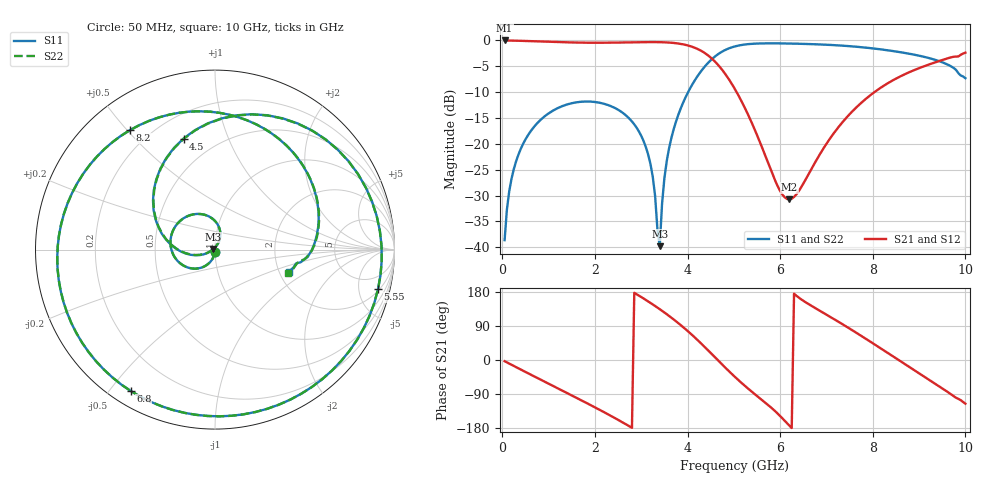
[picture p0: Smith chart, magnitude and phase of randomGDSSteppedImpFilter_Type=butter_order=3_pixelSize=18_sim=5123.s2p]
! freq	dB(S11)	phase(S11)	dB(S12)	phase(S12)
!  dB(S21)	phase(S21)	dB(S22)	phase(S22)
!S-par simulation data
#  GHz  S  DB  R 50
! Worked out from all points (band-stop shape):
!   200 points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, 50 MHz to 10 GHz, reference 50 ohm
!   highest |S21| = 0.00 dB at 50 MHz (marker M1); lowest = -30.7 dB at 6.2 GHz (marker M2)
!   |S21| within 3 dB of the highest: start of sweep to 4.458 GHz; 9.863 GHz to end of sweep
!   lowest |S11| = -39.8 dB at 3.4 GHz (marker M3), VSWR 1.02, Z = 49 + j0.284 ohm
!   |S11| at or under -10 dB: start of sweep to 4.013 GHz
!   |S22| runs from -39.1 to -0.6 dB; largest |S21 - S12| = 0
!   S11 on the Smith chart (normalised r, x): 50 MHz: 1.00, -0.02; 4.5 GHz: 0.33, +0.70; 5.55 GHz: 2.26, -7.80; 6.8 GHz: 0.06, -0.57; 8.2 GHz: 0.13, +0.51; 10 GHz: 2.27, -0.68
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0.05  -38.62 -93.2  -0.00 -3.2  -0.00 -3.2  -38.61 -93.2
0.2  -26.72 -103.1  -0.03 -12.7  -0.03 -12.7  -26.72 -103.2
0.5  -19.14 -122.2  -0.10 -31.5  -0.10 -31.5  -19.15 -122.2
1.15  -13.30 -162.4  -0.30 -71.8  -0.30 -71.8  -13.30 -162.4
1.75  -11.83 160.4  -0.43 -109.1  -0.43 -109.1  -11.83 160.4
3  -18.44 77.8  -0.33 166.2  -0.33 166.2  -18.44 78.1
3.25  -26.41 63.5  -0.31 146.6  -0.31 146.6  -26.38 64.6
3.4  -39.78 163.6  -0.33 134.1  -0.33 134.1  -39.05 160.9
3.5  -26.67 -155.7  -0.36 125.4  -0.36 125.4  -26.64 -157.4
3.7  -17.20 -167.9  -0.48 107.1  -0.48 107.1  -17.20 -168.6
4.05  -9.36 158.2  -1.08 71.4  -1.08 71.4  -9.36 157.7
4.5  -3.83 105.8  -3.31 18.6  -3.31 18.6  -3.84 105.5
5.05  -1.09 39.2  -9.83 -47.6  -9.83 -47.6  -1.09 38.9
5.55  -0.59 -13.5  -19.37 -99.9  -19.37 -99.9  -0.59 -13.7
6.2  -0.60 -71.8  -30.73 -173.5  -30.73 -173.5  -0.60 -71.9
6.7  -0.72 -112.8  -24.46 141.2  -24.46 141.2  -0.72 -112.8
6.8  -0.75 -120.8  -22.88 134.1  -22.88 134.1  -0.75 -120.8
7.5  -1.11 -177.1  -14.26 82.9  -14.26 82.9  -1.11 -177.2
8.2  -1.76 125.4  -8.97 28.5  -8.97 28.5  -1.76 125.1
8.35  -1.94 113.0  -8.14 16.6  -8.14 16.6  -1.94 112.7
9.25  -3.49 40.2  -4.53 -54.8  -4.53 -54.8  -3.50 39.3
10  -7.30 -16.6  -2.36 -115.3  -2.36 -115.3  -7.33 -17.9
